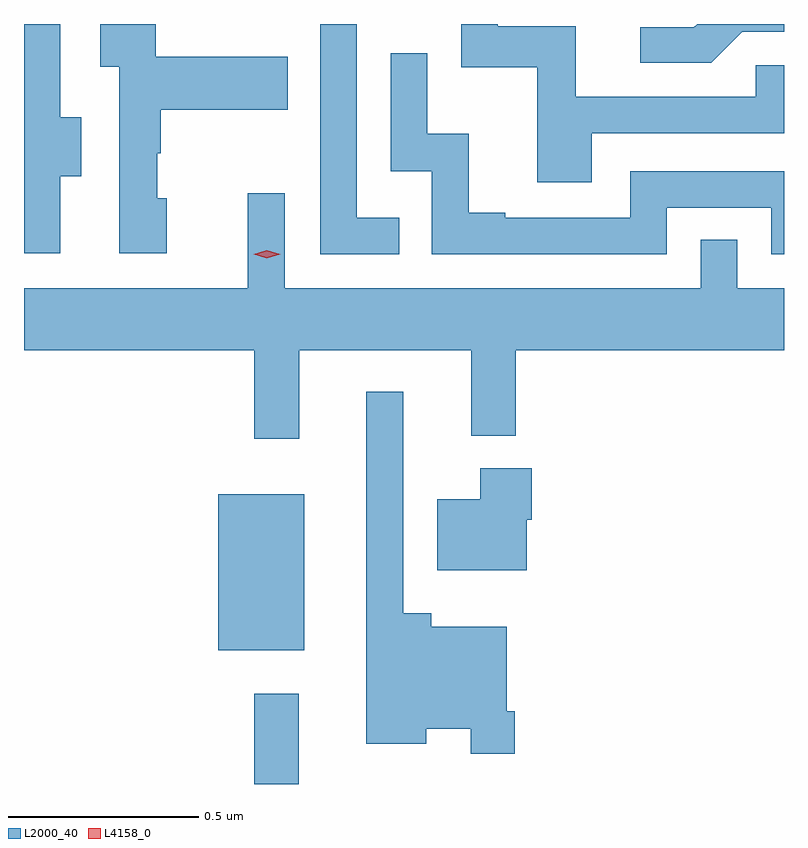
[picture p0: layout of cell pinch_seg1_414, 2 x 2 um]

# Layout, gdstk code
import gdstk
lib = gdstk.Library(unit=1e-6, precision=1e-09)
def R(c, l, rs):  # rectangles x0, y0, x1, y1
    for r in rs: c.add(gdstk.rectangle(r[:2], r[2:], *l))
def P(c, l, *ps):  # polygons
    for p in ps: c.add(gdstk.Polygon(p, *l))
L2000_40 = (2000, 40)
L4158_0 = (4158, 0)

pinch_seg1_414 = lib.new_cell('pinch_seg1_414')
R(pinch_seg1_414, L2000_40, [(933.559,535.939,933.676,536.176), (933.464,536.291,933.691,536.701)])
P(pinch_seg1_414, L2000_40, [(933.328,537.48),(933.303,537.48),(933.303,537.599),(933.313,537.599),(933.313,537.713),(933.647,537.713),(933.647,537.853),(933.3,537.853),(933.3,537.939),(933.153,537.939),(933.153,537.827),(933.204,537.827),(933.204,537.336),(933.328,537.336)],
  [(934.447,537.651),(934.953,537.651),(934.953,537.831),(934.879,537.831),(934.879,537.747),(934.405,537.747),(934.405,537.933),(934.2,537.933),(934.2,537.939),(934.104,537.939),(934.104,537.825),(934.303,537.825),(934.303,537.522),(934.447,537.522)],
  [(933.941,537.429),(933.828,537.429),(933.828,537.939),(933.732,537.939),(933.732,537.333),(933.941,537.333)],
  [(934.843,537.918),(934.953,537.918),(934.953,537.939),(934.725,537.939),(934.716,537.93),(934.575,537.93),(934.575,537.837),(934.762,537.837)],
  [(933.049,537.538),(933.103,537.538),(933.103,537.693),(933.048,537.693),(933.048,537.939),(932.953,537.939),(932.953,537.336),(933.049,537.336)],
  [(934.644,537.456),(934.92,537.456),(934.92,537.333),(934.953,537.333),(934.953,537.552),(934.548,537.552),(934.548,537.429),(934.219,537.429),(934.219,537.442),(934.124,537.442),(934.124,537.65),(934.014,537.65),(934.014,537.862),(933.918,537.862),(933.918,537.552),(934.026,537.552),(934.026,537.333),(934.644,537.333)],
  [(933.677,537.08),(934.13,537.08),(934.13,536.855),(934.247,536.855),(934.247,537.08),(934.953,537.08),(934.953,537.244),(934.83,537.244),(934.83,537.371),(934.734,537.371),(934.734,537.244),(933.639,537.244),(933.639,537.493),(933.542,537.493),(933.542,537.244),(932.953,537.244),(932.953,537.08),(933.559,537.08),(933.559,536.847),(933.677,536.847)],
  [(934.244,536.131),(934.224,536.131),(934.224,536.353),(934.025,536.353),(934.025,536.389),(933.951,536.389),(933.951,536.971),(933.854,536.971),(933.854,536.045),(934.012,536.045),(934.012,536.084),(934.128,536.084),(934.128,536.019),(934.244,536.019)],
  [(934.276,536.634),(934.289,536.634),(934.289,536.77),(934.154,536.77),(934.154,536.689),(934.04,536.689),(934.04,536.501),(934.276,536.501)])
P(pinch_seg1_414, L4158_0, [(933.592,537.323),(933.557,537.333),(933.557,537.333),(933.557,537.333),(933.592,537.343),(933.627,537.333),(933.627,537.333),(933.627,537.333)])

lib.write_gds('pinch_seg1_414.gds')
